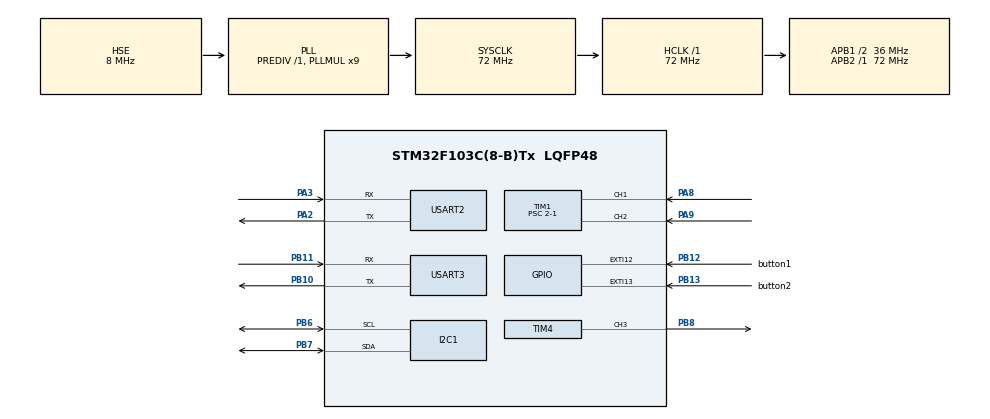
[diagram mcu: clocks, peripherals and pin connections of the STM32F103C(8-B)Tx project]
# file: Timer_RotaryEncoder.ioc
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Dma.Request0=USART3_RX
Dma.Request1=USART3_TX
Dma.USART3_RX.0.Direction=DMA_PERIPH_TO_MEMORY
Dma.USART3_RX.0.Instance=DMA1_Channel3
Dma.USART3_RX.0.MemDataAlignment=DMA_MDATAALIGN_BYTE
Dma.USART3_RX.0.MemInc=DMA_MINC_ENABLE
Dma.USART3_RX.0.Mode=DMA_NORMAL
Dma.USART3_RX.0.PeriphDataAlignment=DMA_PDATAALIGN_BYTE
Dma.USART3_RX.0.PeriphInc=DMA_PINC_DISABLE
Dma.USART3_RX.0.Priority=DMA_PRIORITY_LOW
Dma.USART3_TX.1.Direction=DMA_MEMORY_TO_PERIPH
Dma.USART3_TX.1.Instance=DMA1_Channel2
Dma.USART3_TX.1.MemDataAlignment=DMA_MDATAALIGN_BYTE
Dma.USART3_TX.1.MemInc=DMA_MINC_ENABLE
Dma.USART3_TX.1.Mode=DMA_NORMAL
Dma.USART3_TX.1.PeriphDataAlignment=DMA_PDATAALIGN_BYTE
Dma.USART3_TX.1.PeriphInc=DMA_PINC_DISABLE
Dma.USART3_TX.1.Priority=DMA_PRIORITY_LOW
I2C1.I2C_Mode=I2C_Fast
Mcu.Family=STM32F1
Mcu.Name=STM32F103C(8-B)Tx
Mcu.Package=LQFP48
NVIC.DMA1_Channel2_IRQn=true\:0\:0\:false\:false\:true\:false\:true\:true
NVIC.DMA1_Channel3_IRQn=true\:0\:0\:false\:false\:true\:false\:true\:true
NVIC.EXTI15_10_IRQn=true\:0\:0\:true\:false\:true\:true\:true\:true
NVIC.PriorityGroup=NVIC_PRIORITYGROUP_4
NVIC.USART3_IRQn=true\:0\:0\:false\:false\:true\:true\:true\:true
PA13.Mode=Serial_Wire
PA13.Signal=SYS_JTMS-SWDIO
PA14.Mode=Serial_Wire
PA14.Signal=SYS_JTCK-SWCLK
PA2.Mode=Asynchronous
PA2.Signal=USART2_TX
PA3.Mode=Asynchronous
PA3.Signal=USART2_RX
PA8.Signal=S_TIM1_CH1
PA9.Signal=S_TIM1_CH2
PB10.Mode=Asynchronous
PB10.Signal=USART3_TX
PB11.Mode=Asynchronous
PB11.Signal=USART3_RX
PB12.GPIO_Label=button1
PB12.GPIO_PuPd=GPIO_PULLDOWN
PB12.Signal=GPXTI12
PB13.GPIO_Label=button2
PB13.GPIO_PuPd=GPIO_PULLDOWN
PB13.Signal=GPXTI13
PB6.Mode=I2C
PB6.Signal=I2C1_SCL
PB7.Mode=I2C
PB7.Signal=I2C1_SDA
PB8.Signal=S_TIM4_CH3
PD0-OSC_IN.Mode=HSE-External-Oscillator
PD0-OSC_IN.Signal=RCC_OSC_IN
PD1-OSC_OUT.Mode=HSE-External-Oscillator
PD1-OSC_OUT.Signal=RCC_OSC_OUT
ProjectManager.HeapSize=0x200
ProjectManager.StackSize=0x400
ProjectManager.TargetToolchain=STM32CubeIDE
RCC.AHBFreq_Value=72000000
RCC.APB1CLKDivider=RCC_HCLK_DIV2
RCC.APB1Freq_Value=36000000
RCC.APB1TimFreq_Value=72000000
RCC.APB2Freq_Value=72000000
RCC.APB2TimFreq_Value=72000000
RCC.HCLKFreq_Value=72000000
RCC.PLLMUL=RCC_PLL_MUL9
RCC.PLLSourceVirtual=RCC_PLLSOURCE_HSE
RCC.SYSCLKFreq_VALUE=72000000
RCC.SYSCLKSource=RCC_SYSCLKSOURCE_PLLCLK
RCC.USBFreq_Value=72000000
SH.S_TIM1_CH1.0=TIM1_CH1,Encoder_Interface
SH.S_TIM1_CH2.0=TIM1_CH2,Encoder_Interface
SH.S_TIM4_CH3.0=TIM4_CH3,PWM Generation3 CH3
TIM1.IC1Filter=10
TIM1.IC1Polarity=TIM_ICPOLARITY_FALLING
TIM1.IC2Filter=15
TIM1.Prescaler=2-1
TIM4.Channel-PWM\ Generation3\ CH3=TIM_CHANNEL_3
TIM4.Period=2000-1
TIM4.Prescaler=720-1
USART2.VirtualMode=VM_ASYNC
USART3.VirtualMode=VM_ASYNC
VP_TIM4_VS_ClockSourceINT.Mode=Internal
board=custom

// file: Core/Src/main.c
/* USER CODE BEGIN Header */
/**
 ******************************************************************************
 * @file           : main.c
 * @brief          : Main program body
 ******************************************************************************
 * @attention
 *
 * Copyright (c) 2022 STMicroelectronics.
 * All rights reserved.
 *
 * This software is licensed under terms that can be found in the LICENSE file
 * in the root directory of this software component.
 * If no LICENSE file comes with this software, it is provided AS-IS.
 *
 ******************************************************************************
 */
/* USER CODE END Header */
#include "main.h"
#include "dma.h"
#include "i2c.h"
#include "tim.h"
#include "usart.h"
#include "gpio.h"
#include "oled.h"
#include <stdio.h>
#include <string.h>
#include <stdlib.h>

/* USER CODE BEGIN PTD */
typedef enum {
    SERVO_IDLE = 0,
    SERVO_RETURNING,
    SERVO_RUNNING
} ServoState;
/* USER CODE END PTD */

/* USER CODE BEGIN PD */
#define SERVO_MAX_ANGLE 180
#define SERVO_MIN_ANGLE 0
#define SERVO_PWM_MIN 500   // 0.5ms -> 0度
#define SERVO_PWM_MAX 2500  // 2.5ms -> 180度
#define UNDERFLOW_THRESHOLD 60000
/* USER CODE END PD */

/* USER CODE BEGIN PV */
ServoState servo_state = SERVO_IDLE;
uint16_t servo_current_angle = 0;
uint8_t servo_direction = 0;
uint32_t last_motion_time = 0;
uint32_t servo_run_end_time = 0;
uint32_t servo_motion_time = 5000; // 默认运动周期5秒
uint16_t servo_angle_range = 90;   // 默认角度范围90度
// uint32_t servo_start_time = 0; // Unused
uint16_t servo_run_duration = 10;  // 默认运行时间10分钟
uint8_t setting_mode = 1;          // 默认进入设置模式

uint16_t bluetooth_angle = 0;
uint8_t bluetooth_angle_valid = 0;
uint16_t bluetooth_time = 0;
// uint8_t bluetooth_time_valid = 0; // Unused
uint16_t bluetooth_speed = 0;
// uint8_t bluetooth_speed_valid = 0; // Unused

uint8_t receiveData[50]; // DMA接收缓冲
uint16_t current_count = 0;
/* USER CODE END PV */

void SystemClock_Config(void);
/* USER CODE BEGIN PFP */
void SetServoAngle(uint16_t angle);
void UpdateServoPosition(void);
uint16_t MapAngleToPWM(uint16_t angle);
void ParseBluetoothData(uint8_t* data, uint16_t size);
/* USER CODE END PFP */

/* USER CODE BEGIN 0 */

// 将角度映射到PWM值
uint16_t MapAngleToPWM(uint16_t angle)
{
    if(angle > SERVO_MAX_ANGLE) angle = SERVO_MAX_ANGLE;
    if(angle < SERVO_MIN_ANGLE) angle = SERVO_MIN_ANGLE;

    // 线性映射: PWM = MIN + (angle / 180) * (MAX - MIN)
    return SERVO_PWM_MIN + (uint16_t)((float)angle / SERVO_MAX_ANGLE * (SERVO_PWM_MAX - SERVO_PWM_MIN));
}

// 设置舵机角度
void SetServoAngle(uint16_t angle)
{
    if(angle > SERVO_MAX_ANGLE) angle = SERVO_MAX_ANGLE;
    if(angle < SERVO_MIN_ANGLE) angle = SERVO_MIN_ANGLE;

    uint16_t pwm_value = MapAngleToPWM(angle);
    __HAL_TIM_SET_COMPARE(&htim4, TIM_CHANNEL_3, pwm_value);
}

// 更新舵机位置
void UpdateServoPosition(void)
{
    if(servo_state == SERVO_RETURNING)
    {
        // 舵机回到原位状态
        if(servo_current_angle > 0)
        {
            servo_current_angle--;
            SetServoAngle(servo_current_angle);
        }
        else
        {
            // 回到原位后，开始按角度范围运动
            servo_state = SERVO_RUNNING;
            servo_direction = 0;  // 正向运动
            last_motion_time = HAL_GetTick();
        }
    }
    else if(servo_state == SERVO_RUNNING)
    {
        // 舵机往复运动逻辑 - 平滑运动
        uint32_t current_time = HAL_GetTick();

        // 检查是否超过运行时间
        if(current_time >= servo_run_end_time)
        {
            // 运行时间到，停止舵机
            servo_state = SERVO_IDLE;
            servo_current_angle = 0;
            SetServoAngle(servo_current_angle);

            // 发送运行结束信息
            HAL_UART_Transmit(&huart2, (uint8_t *)"Servo run completed\r\n", strlen("Servo run completed\r\n"), 10);
            return;
        }

        // 计算运动进度（0-1之间）
        uint32_t motion_cycle_time = servo_motion_time * 2; // 一个完整周期的时间
        uint32_t cycle_elapsed = (current_time - last_motion_time) % motion_cycle_time;
        float progress = (float)cycle_elapsed / motion_cycle_time;

        if(progress < 0.5f)
        {
            // 前半周期：从0度到设定角度
            servo_direction = 0;
            float phase_progress = progress * 2.0f; // 0-1
            servo_current_angle = (uint16_t)(servo_angle_range * phase_progress);
        }
        else
        {
            // 后半周期：从设定角度到0度
            servo_direction = 1;
            float phase_progress = (progress - 0.5f) * 2.0f; // 0-1
            servo_current_angle = (uint16_t)(servo_angle_range * (1.0f - phase_progress));
        }

        SetServoAngle(servo_current_angle);
    }
    else
    {
        // 舵机停止状态，保持在当前位置
        SetServoAngle(servo_current_angle);
    }
}

// 解析蓝牙接收的数据
void ParseBluetoothData(uint8_t* data, uint16_t size)
{
    // 确保数据以null结尾
    if(size < sizeof(receiveData))
    {
        data[size] = '\0';
    }
    else
    {
        data[sizeof(receiveData)-1] = '\0';
    }

    // 移除换行符和回车符
    for(int i = 0; i < size; i++)
    {
        if(data[i] == '\r' || data[i] == '\n')
        {
            data[i] = '\0';
            break;
        }
    }

    // 检查是否为空行
    if(strlen((char*)data) == 0)
    {
        return;
    }

    // 检查是否是特殊命令
    if(strncmp((char*)data, "TEST", 4) == 0)
    {
        return;
    }
    else if(strncmp((char*)data, "START", 5) == 0)
    {
        // 蓝牙启动命令
        if(servo_state == SERVO_IDLE)
        {
            servo_state = SERVO_RETURNING;
            servo_current_angle = 0;
            servo_direction = 0;
            last_motion_time = HAL_GetTick();
            HAL_UART_Transmit(&huart2, (uint8_t *)"ACK: Servo started\r\n", strlen("ACK: Servo started\r\n"), 10);
        }
        else
        {
            HAL_UART_Transmit(&huart2, (uint8_t *)"INFO: Servo already running\r\n", strlen("INFO: Servo already running\r\n"), 10);
        }
        return;
    }
    else if(strncmp((char*)data, "STOP", 4) == 0)
    {
        // 蓝牙停止命令
        servo_state = SERVO_IDLE;
        HAL_UART_Transmit(&huart2, (uint8_t *)"ACK: Servo stopped\r\n", strlen("ACK: Servo stopped\r\n"), 10);
        return;
    }

    // 解析参数命令
    if(strncmp((char*)data, "A", 1) == 0) // 角度设置：A90
    {
        int value = atoi((char*)data + 1);
        if(value >= 0 && value <= 180)
        {
            bluetooth_angle = (uint16_t)value;
            bluetooth_angle_valid = 1;
            servo_angle_range = bluetooth_angle;
            __HAL_TIM_SET_COUNTER(&htim1, bluetooth_angle);

            char ack_msg[50];
            snprintf(ack_msg, sizeof(ack_msg), "ACK: Angle set to %d\r\n", bluetooth_angle);
            HAL_UART_Transmit(&huart2, (uint8_t *)ack_msg, strlen(ack_msg), 10);
        }
        else
        {
            HAL_UART_Transmit(&huart2, (uint8_t *)"ERROR: Angle must be 0-180\r\n", strlen("ERROR: Angle must be 0-180\r\n"), 10);
        }
    }
    else if(strncmp((char*)data, "T", 1) == 0) // 时间设置：T10
    {
        int value = atoi((char*)data + 1);
        if(value >= 1 && value <= 60)
        {
            bluetooth_time = (uint16_t)value;
            // bluetooth_time_valid = 1;
            servo_run_duration = bluetooth_time;

            char ack_msg[50];
            snprintf(ack_msg, sizeof(ack_msg), "ACK: Run time set to %d minutes\r\n", bluetooth_time);
            HAL_UART_Transmit(&huart2, (uint8_t *)ack_msg, strlen(ack_msg), 10);
        }
        else
        {
            HAL_UART_Transmit(&huart2, (uint8_t *)"ERROR: Time must be 1-60 minutes\r\n", strlen("ERROR: Time must be 1-60 minutes\r\n"), 10);
        }
    }
    else if(strncmp((char*)data, "S", 1) == 0) // 速度设置：S5
    {
        int value = atoi((char*)data + 1);
        if(value >= 1 && value <= 10)
        {
            bluetooth_speed = (uint16_t)value;
            // bluetooth_speed_valid = 1;
            servo_motion_time = bluetooth_speed * 1000;

            char ack_msg[50];
            snprintf(ack_msg, sizeof(ack_msg), "ACK: Speed set to %d seconds\r\n", bluetooth_speed);
            HAL_UART_Transmit(&huart2, (uint8_t *)ack_msg, strlen(ack_msg), 10);
        }
        else
        {
            HAL_UART_Transmit(&huart2, (uint8_t *)"ERROR: Speed must be 1-10 seconds\r\n", strlen("ERROR: Speed must be 1-10 seconds\r\n"), 10);
        }
    }
    else
    {
        // 兼容旧格式：纯数字输入
        int value = atoi((char*)data);

        if(value >= 0 && value <= 180)
        {
            // 角度值
            bluetooth_angle = (uint16_t)value;
            bluetooth_angle_valid = 1;
            servo_angle_range = bluetooth_angle;
            __HAL_TIM_SET_COUNTER(&htim1, bluetooth_angle);

            char ack_msg[50];
            snprintf(ack_msg, sizeof(ack_msg), "ACK: Angle set to %d\r\n", bluetooth_angle);
            HAL_UART_Transmit(&huart2, (uint8_t *)ack_msg, strlen(ack_msg), 10);
        }
        else
        {
            char error_msg[80];
            snprintf(error_msg, sizeof(error_msg), "ERROR: Invalid value %d. Use A90, T10, S5 format\r\n", value);
            HAL_UART_Transmit(&huart2, (uint8_t *)error_msg, strlen(error_msg), 10);
        }
    }
}
/* USER CODE END 0 */

int main(void)
{

  /* MCU Configuration--------------------------------------------------------*/

  /* Reset of all peripherals, Initializes the Flash interface and the Systick. */
  HAL_Init();

  /* Configure the system clock */
  SystemClock_Config();

  /* Initialize all configured peripherals */
  MX_GPIO_Init();
  MX_DMA_Init();
  MX_TIM1_Init();
  MX_USART2_UART_Init();
  MX_I2C1_Init();
  MX_USART3_UART_Init();
  MX_TIM4_Init();
  /* USER CODE BEGIN 2 */
    // 启动DMA接收 (IDLE中断模式)
    HAL_UARTEx_ReceiveToIdle_DMA(&huart3, receiveData, sizeof(receiveData));
    __HAL_DMA_DISABLE_IT(&hdma_usart3_rx, DMA_IT_HT); // 禁用半传输中断，防止干扰

    HAL_TIM_Encoder_Start(&htim1, TIM_CHANNEL_ALL);
    OLED_Init();
    HAL_TIM_PWM_Start(&htim4, TIM_CHANNEL_3);

    // 初始化变量
    uint16_t cnt_encoder = 0;

    // 初始化舵机到0度位置
    SetServoAngle(0);
    servo_current_angle = 0;

    // 串口测试 - 发送启动信息
    HAL_UART_Transmit(&huart2, (uint8_t *)"STM32 Started\r\n", strlen("STM32 Started\r\n"), 1000);
    HAL_Delay(1000);
    HAL_UART_Transmit(&huart2, (uint8_t *)"System Ready\r\n", strlen("System Ready\r\n"), 1000);
    HAL_Delay(1000);
    HAL_UART_Transmit(&huart2, (uint8_t *)"Setting Mode - Use encoder to set angle\r\n", strlen("Setting Mode - Use encoder to set angle\r\n"), 1000);
    HAL_Delay(1000);

  /* USER CODE END 2 */

  /* Infinite loop */
  /* USER CODE BEGIN WHILE */
    while (1)
    {
        // 读取编码器值
        current_count = __HAL_TIM_GET_COUNTER(&htim1);

        // 处理边界情况 - 限制在0-180度范围内
        if (current_count > UNDERFLOW_THRESHOLD) {
            current_count = 0;
            __HAL_TIM_SET_COUNTER(&htim1, 0);
        } else if (current_count > 180) {
            current_count = 180;
            __HAL_TIM_SET_COUNTER(&htim1, 180);
        }

        // 只有当计数值真正改变时才更新显示
        if (cnt_encoder != current_count)
        {
            cnt_encoder = current_count;
            // 只在设置模式下显示编码器值
            if(setting_mode)
            {
                char encoder_msg[30];
                snprintf(encoder_msg, sizeof(encoder_msg), "Encoder: %d\r\n", cnt_encoder);
                HAL_UART_Transmit(&huart2, (uint8_t *)encoder_msg, strlen(encoder_msg), 100);
            }
        }

        // 按钮检测（轮询方式）
        static uint32_t last_btn1_time = 0;
        static uint8_t btn1_pressed = 0;
        static uint8_t btn2_pressed = 0;
        static uint32_t btn2_press_start = 0;
        static uint8_t btn2_long_press = 0;

        // 检测按钮1
        if(HAL_GPIO_ReadPin(button1_GPIO_Port, button1_Pin) == GPIO_PIN_RESET)
        {
            if(!btn1_pressed && (HAL_GetTick() - last_btn1_time > 200))
            {
                btn1_pressed = 1;
                last_btn1_time = HAL_GetTick();

                // 按钮1按下 - 启动舵机
                if(setting_mode)
                {
                    setting_mode = 0;
                    servo_state = SERVO_RETURNING;
                    servo_current_angle = 0;
                    servo_direction = 0;

                    // 显示当前设置的角度范围
                    char start_msg[50];
                    snprintf(start_msg, sizeof(start_msg), "Button1: Start Servo, Angle Range: %d\r\n", servo_angle_range);
                    HAL_UART_Transmit(&huart2, (uint8_t *)start_msg, strlen(start_msg), 100);
                }
                else if(servo_state == SERVO_IDLE)
                {
                    servo_state = SERVO_RETURNING;
                    servo_current_angle = 0;
                    servo_direction = 0;

                    // 显示当前设置的角度范围
                    char restart_msg[50];
                    snprintf(restart_msg, sizeof(restart_msg), "Button1: Restart Servo, Angle Range: %d\r\n", servo_angle_range);
                    HAL_UART_Transmit(&huart2, (uint8_t *)restart_msg, strlen(restart_msg), 100);
                }
            }
        }
        else
        {
            btn1_pressed = 0;
        }

        // 检测按钮2
        if(HAL_GPIO_ReadPin(button2_GPIO_Port, button2_Pin) == GPIO_PIN_RESET)
        {
            if(!btn2_pressed)
            {
                btn2_pressed = 1;
                btn2_press_start = HAL_GetTick();
                btn2_long_press = 0;
            }
            else
            {
                // 检查长按
                if((HAL_GetTick() - btn2_press_start > 2000) && !btn2_long_press)
                {
                    // 长按：返回设置模式
                    setting_mode = 1;
                    servo_state = SERVO_IDLE;
                    btn2_long_press = 1;
                    HAL_UART_Transmit(&huart2, (uint8_t *)"Button2: Setting Mode - Use encoder to set angle\r\n", strlen("Button2: Setting Mode - Use encoder to set angle\r\n"), 100);
                }
            }
        }
        else
        {
            if(btn2_pressed)
            {
                // 按钮释放，检查是否为长按
                if(btn2_press_start > 0)
                {
                    uint32_t press_duration = HAL_GetTick() - btn2_press_start;

                    if(press_duration > 2000) // 长按2秒
                    {
                        // 长按已在按下时处理
                    }
                    else if(!btn2_long_press)
                    {
                        // 短按：停止舵机
                        servo_state = SERVO_IDLE;
                        // 不改变servo_current_angle，保持在当前位置
                        HAL_UART_Transmit(&huart2, (uint8_t *)"Button2: Stop Servo\r\n", strlen("Button2: Stop Servo\r\n"), 100);
                    }
                    btn2_press_start = 0;
                }
            }
            btn2_pressed = 0;
        }

        // 在设置模式下，通过编码器或蓝牙设定舵机角度范围
        if(setting_mode)
        {
            // 如果蓝牙设置了角度，优先使用蓝牙值（仅使用一次）
            if(bluetooth_angle_valid)
            {
                servo_angle_range = bluetooth_angle;
                // 立即清除标志，允许编码器继续调整
                bluetooth_angle_valid = 0;
            }
            else
            {
                // 使用编码器值直接对应角度（0-180度）
                servo_angle_range = current_count;
                if(servo_angle_range > 180) servo_angle_range = 180;
            }
        }

        // 舵机位置更新
        UpdateServoPosition();

        // OLED显示更新
        OLED_NewFrame();

        if(setting_mode)
        {
            // 设置模式显示
            OLED_PrintString(0, 0, "SETTING MODE", &font16x16, OLED_COLOR_NORMAL);

            char angle_buf[30];
            snprintf(angle_buf, sizeof(angle_buf), "Angle: %d", servo_angle_range);
            OLED_PrintString(0, 20, angle_buf, &font16x16, OLED_COLOR_NORMAL);

            char time_buf[30];
            snprintf(time_buf, sizeof(time_buf), "Time: %dmin", servo_run_duration);
            OLED_PrintString(0, 40, time_buf, &font16x16, OLED_COLOR_NORMAL);
        }
        else
        {
            // 运行模式显示
            OLED_PrintString(0, 0, "RUNNING MODE", &font16x16, OLED_COLOR_NORMAL);

            // 显示状态
            const char* state_str = (servo_state == SERVO_IDLE) ? "IDLE" :
                                   (servo_state == SERVO_RETURNING) ? "RETURNING" : "RUNNING";
            char state_buf[30];
            snprintf(state_buf, sizeof(state_buf), "State: %s", state_str);
            OLED_PrintString(0, 20, state_buf, &font16x16, OLED_COLOR_NORMAL);

            // 显示当前角度
            char angle_buf[30];
            snprintf(angle_buf, sizeof(angle_buf), "Angle: %d/%d", servo_current_angle, servo_angle_range);
            OLED_PrintString(0, 40, angle_buf, &font16x16, OLED_COLOR_NORMAL);
        }

        OLED_ShowFrame();

        // 简单延时
        HAL_Delay(1);
    }
  /* USER CODE END WHILE */

}

void SystemClock_Config(void)
{
  RCC_OscInitTypeDef RCC_OscInitStruct = {0};
  RCC_ClkInitTypeDef RCC_ClkInitStruct = {0};

  /** Initializes the RCC Oscillators according to the specified parameters
  * in the RCC_OscInitTypeDef structure.
  */
  RCC_OscInitStruct.OscillatorType = RCC_OSCILLATORTYPE_HSE;
  RCC_OscInitStruct.HSEState = RCC_HSE_ON;
  RCC_OscInitStruct.HSEPredivValue = RCC_HSE_PREDIV_DIV1;
  RCC_OscInitStruct.HSIState = RCC_HSI_ON;
  RCC_OscInitStruct.PLL.PLLState = RCC_PLL_ON;
  RCC_OscInitStruct.PLL.PLLSource = RCC_PLLSOURCE_HSE;
  RCC_OscInitStruct.PLL.PLLMUL = RCC_PLL_MUL9;
  if (HAL_RCC_OscConfig(&RCC_OscInitStruct) != HAL_OK)
  {
    Error_Handler();
  }

  /** Initializes the CPU, AHB and APB buses clocks
  */
  RCC_ClkInitStruct.ClockType = RCC_CLOCKTYPE_HCLK|RCC_CLOCKTYPE_SYSCLK
                              |RCC_CLOCKTYPE_PCLK1|RCC_CLOCKTYPE_PCLK2;
  RCC_ClkInitStruct.SYSCLKSource = RCC_SYSCLKSOURCE_PLLCLK;
  RCC_ClkInitStruct.AHBCLKDivider = RCC_SYSCLK_DIV1;
  RCC_ClkInitStruct.APB1CLKDivider = RCC_HCLK_DIV2;
  RCC_ClkInitStruct.APB2CLKDivider = RCC_HCLK_DIV1;

  if (HAL_RCC_ClockConfig(&RCC_ClkInitStruct, FLASH_LATENCY_2) != HAL_OK)
  {
    Error_Handler();
  }
}

/* USER CODE BEGIN 4 */
// UART接收回调函数 (IDLE中断)
void HAL_UARTEx_RxEventCallback(UART_HandleTypeDef *huart, uint16_t Size)
{
    if (huart->Instance == USART3)
    {
        // 处理接收到的数据
        ParseBluetoothData(receiveData, Size);

        // 重新启动DMA接收
        HAL_UARTEx_ReceiveToIdle_DMA(&huart3, receiveData, sizeof(receiveData));
        __HAL_DMA_DISABLE_IT(&hdma_usart3_rx, DMA_IT_HT); // 再次禁用半传输中断
    }
}
/* USER CODE END 4 */

void Error_Handler(void)
{
    __disable_irq();
    while (1)
    {
    }
}
